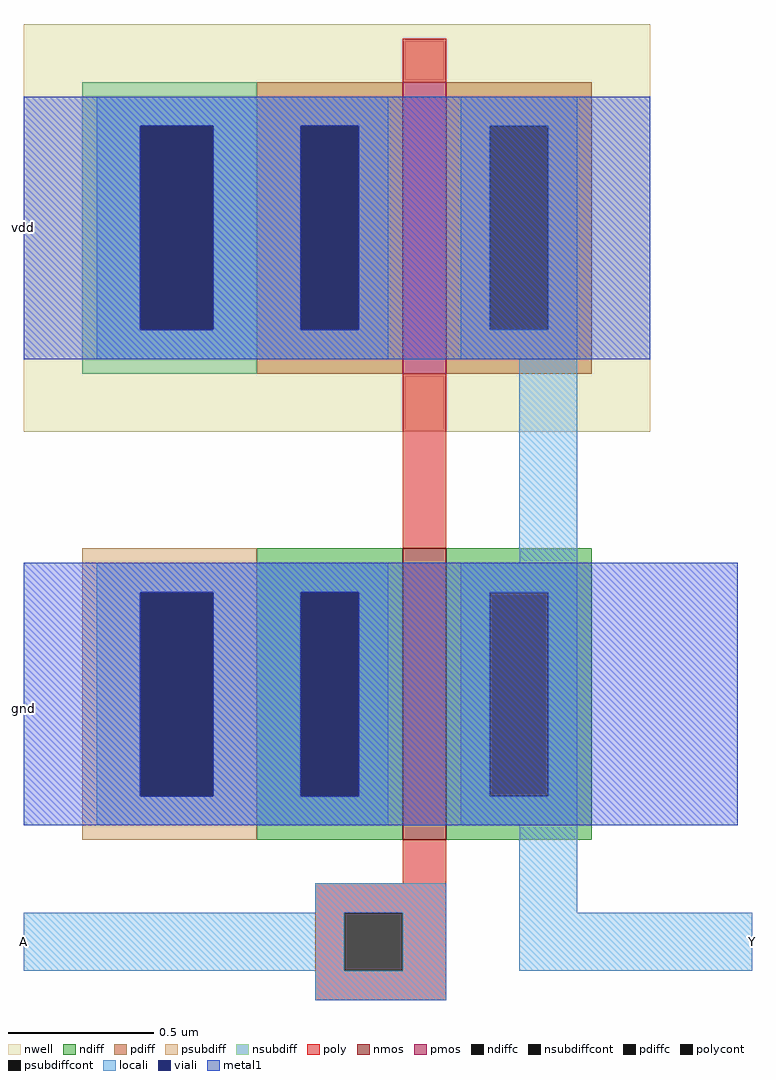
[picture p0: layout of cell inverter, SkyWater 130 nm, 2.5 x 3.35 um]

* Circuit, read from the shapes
.subckt inverter A Y vdd gnd
XM1 Y A gnd gnd sky130_fd_pr__nfet_01v8 w=1 l=0.15
XM2 Y A vdd vdd sky130_fd_pr__pfet_01v8 w=1 l=0.15
.ends

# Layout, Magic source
magic
tech sky130A
<< nwell >>
rect -120 145 95 285
<< nmos >>
rect 10 5 25 105
<< pmos >>
rect 10 165 25 265
<< ndiff >>
rect -40 90 10 105
rect -40 20 -25 90
rect -5 20 10 90
rect -40 5 10 20
rect 25 90 75 105
rect 25 20 40 90
rect 60 20 75 90
rect 25 5 75 20
<< pdiff >>
rect -40 250 10 265
rect -40 180 -25 250
rect -5 180 10 250
rect -40 165 10 180
rect 25 250 75 265
rect 25 180 40 250
rect 60 180 75 250
rect 25 165 75 180
<< ndiffc >>
rect -25 20 -5 90
rect 40 20 60 90
<< pdiffc >>
rect -25 180 -5 250
rect 40 180 60 250
<< psubdiff >>
rect -100 90 -40 105
rect -100 20 -80 90
rect -55 20 -40 90
rect -100 5 -40 20
<< nsubdiff >>
rect -100 250 -40 265
rect -100 180 -80 250
rect -55 180 -40 250
rect -100 165 -40 180
<< psubdiffcont >>
rect -80 20 -55 90
<< nsubdiffcont >>
rect -80 180 -55 250
<< poly >>
rect 10 265 25 280
rect 10 105 25 165
rect 10 -10 25 5
rect -20 -20 25 -10
rect -20 -40 -10 -20
rect 10 -40 25 -20
rect -20 -50 25 -40
<< polycont >>
rect -10 -40 10 -20
<< locali >>
rect -95 250 5 260
rect -95 180 -80 250
rect -55 180 -25 250
rect -5 180 5 250
rect -95 170 5 180
rect 30 250 70 260
rect 30 180 40 250
rect 60 180 70 250
rect 30 170 70 180
rect 50 100 70 170
rect -95 90 5 100
rect -95 20 -80 90
rect -55 20 -25 90
rect -5 20 5 90
rect -95 10 5 20
rect 30 90 70 100
rect 30 20 40 90
rect 60 20 70 90
rect 30 10 70 20
rect -20 -20 25 -10
rect -120 -40 -10 -20
rect 10 -40 25 -20
rect 50 -20 70 10
rect 50 -40 130 -20
rect -20 -50 25 -40
<< viali >>
rect -80 180 -55 250
rect -25 180 -5 250
rect -80 20 -55 90
rect -25 20 -5 90
<< metal1 >>
rect -120 250 95 260
rect -120 180 -80 250
rect -55 180 -25 250
rect -5 180 95 250
rect -120 170 95 180
rect -120 90 125 100
rect -120 20 -80 90
rect -55 20 -25 90
rect -5 20 125 90
rect -120 10 125 20
<< labels >>
rlabel locali -120 -30 -120 -30 7 A
port 1 w
rlabel locali 130 -30 130 -30 3 Y
port 2 e
rlabel metal1 -120 215 -120 215 7 vdd
port 3 w
rlabel metal1 -120 50 -120 50 7 gnd
port 4 w
<< end >>
